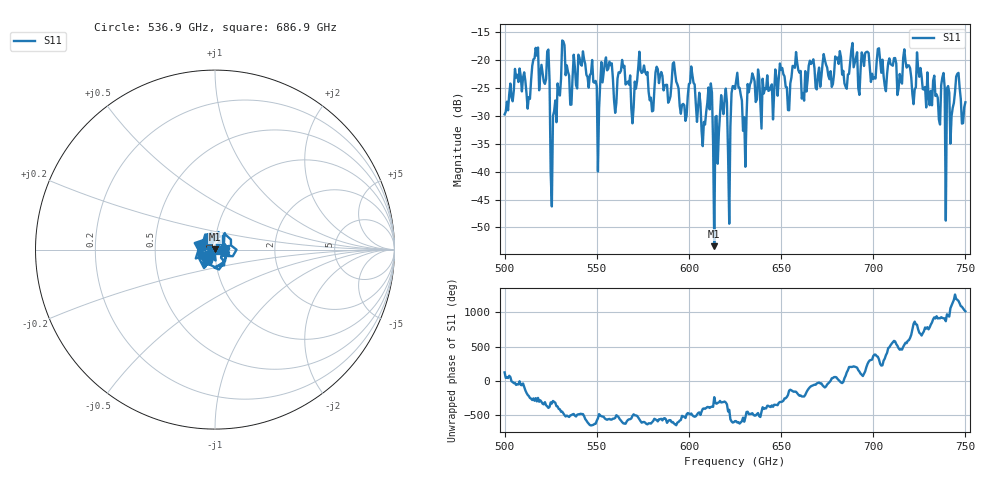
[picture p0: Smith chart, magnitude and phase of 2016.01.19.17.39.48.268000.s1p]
!Created with skrf (http://scikit-rf.org).
# GHz S RI R 50.0
!freq ReS11 ImS11
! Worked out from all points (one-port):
!   401 points, 500 GHz to 750 GHz, reference 50 ohm
!   lowest |S11| = -53.4 dB at 613.8 GHz (marker M1), VSWR 1.00, Z = 49.9 + j0.174 ohm
!   |S11| at or under -10 dB: start of sweep to end of sweep
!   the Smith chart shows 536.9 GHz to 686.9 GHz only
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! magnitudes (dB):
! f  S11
! 500 GHz  -29.8
! 506.9 GHz  -22.7
! 513.1 GHz  -26.7
! 516.9 GHz  -17.8
! 523.1 GHz  -18.5
! 526.2 GHz  -30.0
! 531.2 GHz  -16.5
! 550 GHz  -24.7
! 553.8 GHz  -22.3
! 562.5 GHz  -22.3
! 570 GHz  -28.5
! 593.8 GHz  -24.4
! 601.9 GHz  -22.7
! 608.1 GHz  -31.1
! 611.2 GHz  -28.9
! 613.8 GHz  -53.4
! 618.8 GHz  -29.7
! 622.5 GHz  -31.9
! 625 GHz  -25.2
! 630 GHz  -30.3
! 634.4 GHz  -22.4
! 656.2 GHz  -21.1
! 687.5 GHz  -20.4
! 718.8 GHz  -21.0
! 737.5 GHz  -23.1
! 740.6 GHz  -24.7
! 745.6 GHz  -22.5
! 750 GHz  -27.6
